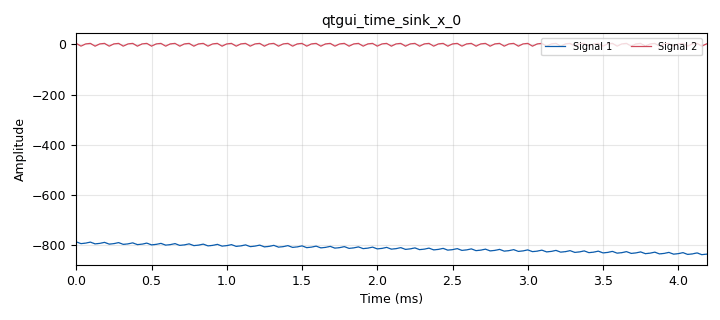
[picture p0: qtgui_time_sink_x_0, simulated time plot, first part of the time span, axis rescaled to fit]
options:
  parameters:
    author: CAMILA_JULIAN_ANDRES
    copyright: UIS
    description: AAA
    generate_options: qt_gui
    id: LAB1_comu
    output_language: python
    title: Primer flujograma
  states: {}

blocks:
- name: samp_rate
  id: variable
  parameters:
    value: '32000'
  states: {}
- name: blocks_throttle_0
  id: blocks_throttle
  parameters:
    samples_per_second: samp_rate
    type: float
  states: {}
- name: blocks_vector_source_x_0
  id: blocks_vector_source_x
  parameters:
    repeat: 'True'
    type: float
    vector: (2, 4, -7)
  states: {}
- name: epy_block_0
  id: epy_block
  parameters:
    _source_code: |
      import numpy as np
      from gnuradio import gr
      class blk (gr. sync_block ):
      	def __init__ ( self , example_param=1.0) : # only default arguments here
      		gr. sync_block. __init__ (
      			self ,
      			name ="_Acum ", # will show up in GRC
      			in_sig =[ np.float32 ],
      		 	out_sig =[ np.float32 ]
      		)
      		self.example_param = example_param
      	def work (self , input_items , output_items ):
      		x = input_items [0] # Senial de entrada .
      		y0 = output_items [0] # Senial acumulada
      		y0 [:] = np. cumsum (x)
      		return len (y0)
    example_param: '1.0'
  states: {}
- name: qtgui_time_sink_x_0
  id: qtgui_time_sink_x
  parameters:
    nconnections: '2'
    size: '1024'
    srate: samp_rate
    type: float
  states: {}

connections:
- [blocks_throttle_0, '0', epy_block_0, '0']
- [blocks_throttle_0, '0', qtgui_time_sink_x_0, '1']
- [blocks_vector_source_x_0, '0', blocks_throttle_0, '0']
- [epy_block_0, '0', qtgui_time_sink_x_0, '0']

metadata:
  file_format: 1
  grc_version: 3.10.5.1
